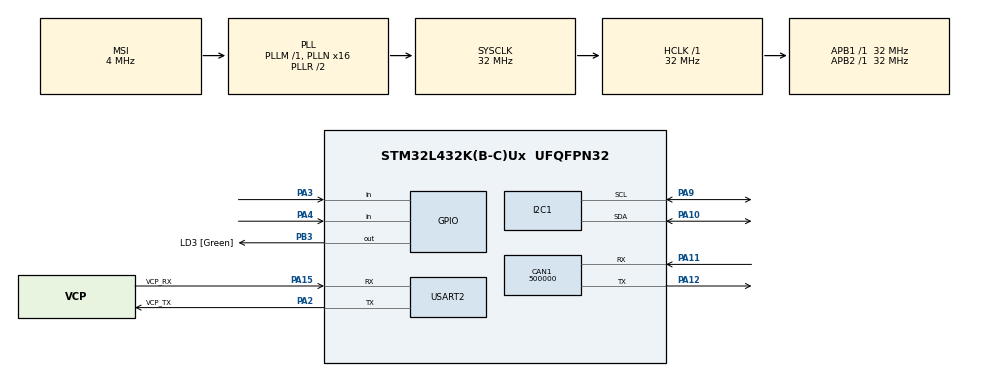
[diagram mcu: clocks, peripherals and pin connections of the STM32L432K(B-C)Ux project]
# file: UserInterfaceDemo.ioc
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CAN1.BS1=CAN_BS1_2TQ
CAN1.CalculateBaudRate=500000
CAN1.CalculateTimeBit=2000
CAN1.CalculateTimeQuantum=500.0
CAN1.Mode=CAN_MODE_NORMAL
CAN1.NART=DISABLE
CAN1.SJW=CAN_SJW_1TQ
I2C1.Timing=0x00B07CB4
Mcu.Family=STM32L4
Mcu.Name=STM32L432K(B-C)Ux
Mcu.Package=UFQFPN32
NVIC.CAN1_RX0_IRQn=true\:0\:0\:false\:false\:true\:true\:true\:true
NVIC.CAN1_RX1_IRQn=true\:0\:0\:false\:false\:true\:true\:true\:true
NVIC.PriorityGroup=NVIC_PRIORITYGROUP_4
PA0.GPIO_Label=MCO [High speed clock in]
PA0.Mode=HSE-External-Clock-Source-for-LittleOrca
PA0.Signal=RCC_CK_IN
PA10.Mode=I2C
PA10.Signal=I2C1_SDA
PA11.GPIO_PuPd=GPIO_NOPULL
PA11.Mode=CAN_Activate
PA11.Signal=CAN1_RX
PA12.Mode=CAN_Activate
PA12.Signal=CAN1_TX
PA13\ (JTMS-SWDIO).GPIO_Label=SWDIO
PA13\ (JTMS-SWDIO).Mode=Serial_Wire
PA13\ (JTMS-SWDIO).Signal=SYS_JTMS-SWDIO
PA14\ (JTCK-SWCLK).GPIO_Label=SWCLK
PA14\ (JTCK-SWCLK).Mode=Serial_Wire
PA14\ (JTCK-SWCLK).Signal=SYS_JTCK-SWCLK
PA15\ (JTDI).GPIO_Label=VCP_RX
PA15\ (JTDI).Mode=Asynchronous
PA15\ (JTDI).Signal=USART2_RX
PA2.GPIO_Label=VCP_TX
PA2.Mode=Asynchronous
PA2.Signal=USART2_TX
PA3.GPIO_PuPd=GPIO_PULLDOWN
PA3.Signal=GPIO_Input
PA4.GPIO_PuPd=GPIO_PULLDOWN
PA4.Signal=GPIO_Input
PA9.Mode=I2C
PA9.Signal=I2C1_SCL
PB3\ (JTDO-TRACESWO).GPIO_Label=LD3 [Green]
PB3\ (JTDO-TRACESWO).Signal=GPIO_Output
PC14-OSC32_IN\ (PC14).Mode=LSE-External-Oscillator
PC14-OSC32_IN\ (PC14).Signal=RCC_OSC32_IN
PC15-OSC32_OUT\ (PC15).Mode=LSE-External-Oscillator
PC15-OSC32_OUT\ (PC15).Signal=RCC_OSC32_OUT
ProjectManager.HeapSize=0x200
ProjectManager.StackSize=0x400
ProjectManager.TargetToolchain=STM32CubeIDE
RCC.AHBFreq_Value=32000000
RCC.APB1Freq_Value=32000000
RCC.APB1TimFreq_Value=32000000
RCC.APB2Freq_Value=32000000
RCC.APB2TimFreq_Value=32000000
RCC.CortexFreq_Value=32000000
RCC.HCLKFreq_Value=32000000
RCC.HSE_VALUE=8000000
RCC.HSI16_VALUE=16000000
RCC.HSI48_VALUE=48000000
RCC.HSI_VALUE=16000000
RCC.MSI_VALUE=4000000
RCC.PLLMUL=RCC_PLLMUL_4
RCC.PLLN=16
RCC.SYSCLKFreq_VALUE=32000000
RCC.SYSCLKSource=RCC_SYSCLKSOURCE_PLLCLK
RCC.VCOOutputFreq_Value=64000000
USART2.VirtualMode-Asynchronous=VM_ASYNC
board=NUCLEO-L432KC

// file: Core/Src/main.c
/* USER CODE BEGIN Header */
/**
  ******************************************************************************
  * @file           : main.c
  * @brief          : Main program body
  ******************************************************************************
  * @attention
  *
  * Copyright (c) 2025 STMicroelectronics.
  * All rights reserved.
  *
  * This software is licensed under terms that can be found in the LICENSE file
  * in the root directory of this software component.
  * If no LICENSE file comes with this software, it is provided AS-IS.
  *
  ******************************************************************************
  */
/* USER CODE END Header */
#include "main.h"

/* USER CODE BEGIN Includes */
#include "liquidcrystal_i2c.h"
/* USER CODE END Includes */

/* USER CODE BEGIN PTD */
/* This has to be replicated in every file to work properly */

/* USER CODE END PTD */

/* USER CODE BEGIN PM */
static inline void split_uint16(uint16_t v, uint8_t *hi, uint8_t *lo) {
    *hi = (uint8_t)(v >> 8);
    *lo = (uint8_t)(v & 0xFF);
}

static inline uint16_t combine_uint8(uint8_t hi, uint8_t lo) {
    return ((uint16_t)hi << 8) | (uint16_t)lo;
}
/* USER CODE END PM */

CAN_HandleTypeDef hcan1;

I2C_HandleTypeDef hi2c1;

UART_HandleTypeDef huart2;

/* USER CODE BEGIN PV */

//identifier ID for each board (every board should have the exact same values)
//must be between 0-255
static uint32_t MAIN = 100;
static uint32_t TEST = 101;
static uint32_t UI = 102;

//switch initial positions
int currentSwitch1 = 0;
int lastSwitch1 = 2;
int currentSwitch2 = 0;
int lastSwitch2 = 2;

/* USER CODE END PV */

void SystemClock_Config(void);
static void MX_GPIO_Init(void);
static void MX_USART2_UART_Init(void);
static void MX_CAN1_Init(void);
static void MX_I2C1_Init(void);

/* USER CODE BEGIN 0 */

CAN_TxHeaderTypeDef TxHeader;
CAN_RxHeaderTypeDef RxHeader;

uint8_t TxData[8];
uint8_t RxData[8];

//data is formatted as followed (three 16-bit values)
/*
 *  [0] data 1 MSB
 *  [1] data 1 LSB
 *  [2] data 2 MSB
 *  [3] data 2 LSB
 *  [4] data 3 MSB
 *  [5] data 3 LSB
 *  [6]
 *  [7] Identifier (such as 0x100 for MAIN)
 *
 *  not every packet will have all data filled, but identifier should always be allocated
 *  16 bit data has big-endian formatting
 */

uint32_t TxMailbox;

uint16_t recovered = 0;

void HAL_CAN_RxFifo0MsgPendingCallback(CAN_HandleTypeDef *hcan)
{
	HAL_CAN_GetRxMessage(hcan, CAN_RX_FIFO0, &RxHeader, RxData);

	recovered = combine_uint8(RxData[0], RxData[1]);

	HAL_GPIO_TogglePin(LD3_GPIO_Port, LD3_Pin);

	TxData[0] = currentSwitch1; //switch 1 position
	TxData[2] = currentSwitch2; //switch 2 position

	TxData[7] = UI; //set identifier
    HAL_CAN_AddTxMessage(&hcan1, &TxHeader, TxData, &TxMailbox);
}

/* USER CODE END 0 */

int main(void)
{

  /* MCU Configuration--------------------------------------------------------*/

  /* Reset of all peripherals, Initializes the Flash interface and the Systick. */
  HAL_Init();

  /* Configure the system clock */
  SystemClock_Config();

  /* Initialize all configured peripherals */
  MX_GPIO_Init();
  MX_USART2_UART_Init();
  MX_CAN1_Init();
  MX_I2C1_Init();
  /* USER CODE BEGIN 2 */
  HD44780_Init(4);
  HD44780_Clear();

  HAL_CAN_Start(&hcan1);

      // Activate the notification
      HAL_CAN_ActivateNotification(&hcan1, CAN_IT_RX_FIFO0_MSG_PENDING);

      //header to send data back to main board
      TxHeader.DLC = 8;  // data length
      TxHeader.ExtId = 0;
      TxHeader.IDE = CAN_ID_STD;
      TxHeader.RTR = CAN_RTR_DATA;
      TxHeader.StdId = MAIN;  // ID of main board, because always sending to MAIN
      TxHeader.TransmitGlobalTime = DISABLE;

  /* USER CODE END 2 */

  /* Infinite loop */
  /* USER CODE BEGIN WHILE */
  while (1)
  {
    /* Read switches */
    currentSwitch1 = HAL_GPIO_ReadPin(GPIOA,GPIO_PIN_3);
    currentSwitch2 = HAL_GPIO_ReadPin(GPIOA,GPIO_PIN_4);

    /* If state has changed */
    if (currentSwitch1 != lastSwitch1 || currentSwitch2 != lastSwitch2)
    {

      lastSwitch1 = currentSwitch1;
	  lastSwitch2 = currentSwitch2;
	  HD44780_Clear();

  	  HD44780_SetCursor(0,0);
  	  HD44780_PrintStr("Switch 1: ");

  	  if (currentSwitch1)
  	  {
  		HD44780_PrintStr("On.");
  	  }
  	  else
  	  {
    	HD44780_PrintStr("Off.");
      }

  	  HD44780_SetCursor(0,1);
  	  HD44780_PrintStr("Switch 2: ");

  	  if (currentSwitch2)
  	  {
 		HD44780_PrintStr("On.");
  	  }
 	  else
 	  {
     	HD44780_PrintStr("Off.");
  	  }
    }
    /* Print state to screen */

    /* USER CODE END WHILE */

  }
}

void SystemClock_Config(void)
{
  RCC_OscInitTypeDef RCC_OscInitStruct = {0};
  RCC_ClkInitTypeDef RCC_ClkInitStruct = {0};

  /** Configure the main internal regulator output voltage
  */
  if (HAL_PWREx_ControlVoltageScaling(PWR_REGULATOR_VOLTAGE_SCALE1) != HAL_OK)
  {
    Error_Handler();
  }

  /** Configure LSE Drive Capability
  */
  HAL_PWR_EnableBkUpAccess();
  __HAL_RCC_LSEDRIVE_CONFIG(RCC_LSEDRIVE_LOW);

  /** Initializes the RCC Oscillators according to the specified parameters
  * in the RCC_OscInitTypeDef structure.
  */
  RCC_OscInitStruct.OscillatorType = RCC_OSCILLATORTYPE_LSE|RCC_OSCILLATORTYPE_MSI;
  RCC_OscInitStruct.LSEState = RCC_LSE_ON;
  RCC_OscInitStruct.MSIState = RCC_MSI_ON;
  RCC_OscInitStruct.MSICalibrationValue = 0;
  RCC_OscInitStruct.MSIClockRange = RCC_MSIRANGE_6;
  RCC_OscInitStruct.PLL.PLLState = RCC_PLL_ON;
  RCC_OscInitStruct.PLL.PLLSource = RCC_PLLSOURCE_MSI;
  RCC_OscInitStruct.PLL.PLLM = 1;
  RCC_OscInitStruct.PLL.PLLN = 16;
  RCC_OscInitStruct.PLL.PLLP = RCC_PLLP_DIV7;
  RCC_OscInitStruct.PLL.PLLQ = RCC_PLLQ_DIV2;
  RCC_OscInitStruct.PLL.PLLR = RCC_PLLR_DIV2;
  if (HAL_RCC_OscConfig(&RCC_OscInitStruct) != HAL_OK)
  {
    Error_Handler();
  }

  /** Initializes the CPU, AHB and APB buses clocks
  */
  RCC_ClkInitStruct.ClockType = RCC_CLOCKTYPE_HCLK|RCC_CLOCKTYPE_SYSCLK
                              |RCC_CLOCKTYPE_PCLK1|RCC_CLOCKTYPE_PCLK2;
  RCC_ClkInitStruct.SYSCLKSource = RCC_SYSCLKSOURCE_PLLCLK;
  RCC_ClkInitStruct.AHBCLKDivider = RCC_SYSCLK_DIV1;
  RCC_ClkInitStruct.APB1CLKDivider = RCC_HCLK_DIV1;
  RCC_ClkInitStruct.APB2CLKDivider = RCC_HCLK_DIV1;

  if (HAL_RCC_ClockConfig(&RCC_ClkInitStruct, FLASH_LATENCY_1) != HAL_OK)
  {
    Error_Handler();
  }

  /** Enable MSI Auto calibration
  */
  HAL_RCCEx_EnableMSIPLLMode();
}

static void MX_CAN1_Init(void)
{

  hcan1.Instance = CAN1;
  hcan1.Init.Prescaler = 16;
  hcan1.Init.Mode = CAN_MODE_NORMAL;
  hcan1.Init.SyncJumpWidth = CAN_SJW_1TQ;
  hcan1.Init.TimeSeg1 = CAN_BS1_2TQ;
  hcan1.Init.TimeSeg2 = CAN_BS2_1TQ;
  hcan1.Init.TimeTriggeredMode = DISABLE;
  hcan1.Init.AutoBusOff = DISABLE;
  hcan1.Init.AutoWakeUp = DISABLE;
  hcan1.Init.AutoRetransmission = DISABLE;
  hcan1.Init.ReceiveFifoLocked = DISABLE;
  hcan1.Init.TransmitFifoPriority = DISABLE;
  if (HAL_CAN_Init(&hcan1) != HAL_OK)
  {
    Error_Handler();
  }
  /* USER CODE BEGIN CAN1_Init 2 */
  CAN_FilterTypeDef canfilterconfig;

    //filter id is id of this board so that it receives the correct data
       canfilterconfig.FilterActivation = CAN_FILTER_ENABLE;
       canfilterconfig.FilterBank = 10;  // which filter bank to use from the assigned ones
       canfilterconfig.FilterFIFOAssignment = CAN_RX_FIFO0;
       canfilterconfig.FilterIdHigh = UI<<5;
       canfilterconfig.FilterIdLow = 0x0000;
       canfilterconfig.FilterMaskIdHigh = UI<<5;
       canfilterconfig.FilterMaskIdLow = 0x0000;
       canfilterconfig.FilterMode = CAN_FILTERMODE_IDMASK;
       canfilterconfig.FilterScale = CAN_FILTERSCALE_32BIT;
       canfilterconfig.SlaveStartFilterBank = 13;  // 13 - 27 are Slave (CAN2) or 0 - 12 are Master (CAN1)
       	 	 	 	 	 	 	 	 	 	 	// useless if only 1 CAN1 (which this board has)

    HAL_CAN_ConfigFilter(&hcan1, &canfilterconfig);
  /* USER CODE END CAN1_Init 2 */

}

static void MX_I2C1_Init(void)
{

  hi2c1.Instance = I2C1;
  hi2c1.Init.Timing = 0x00B07CB4;
  hi2c1.Init.OwnAddress1 = 0;
  hi2c1.Init.AddressingMode = I2C_ADDRESSINGMODE_7BIT;
  hi2c1.Init.DualAddressMode = I2C_DUALADDRESS_DISABLE;
  hi2c1.Init.OwnAddress2 = 0;
  hi2c1.Init.OwnAddress2Masks = I2C_OA2_NOMASK;
  hi2c1.Init.GeneralCallMode = I2C_GENERALCALL_DISABLE;
  hi2c1.Init.NoStretchMode = I2C_NOSTRETCH_DISABLE;
  if (HAL_I2C_Init(&hi2c1) != HAL_OK)
  {
    Error_Handler();
  }

  /** Configure Analogue filter
  */
  if (HAL_I2CEx_ConfigAnalogFilter(&hi2c1, I2C_ANALOGFILTER_ENABLE) != HAL_OK)
  {
    Error_Handler();
  }

  /** Configure Digital filter
  */
  if (HAL_I2CEx_ConfigDigitalFilter(&hi2c1, 0) != HAL_OK)
  {
    Error_Handler();
  }

}

static void MX_USART2_UART_Init(void)
{

  huart2.Instance = USART2;
  huart2.Init.BaudRate = 115200;
  huart2.Init.WordLength = UART_WORDLENGTH_8B;
  huart2.Init.StopBits = UART_STOPBITS_1;
  huart2.Init.Parity = UART_PARITY_NONE;
  huart2.Init.Mode = UART_MODE_TX_RX;
  huart2.Init.HwFlowCtl = UART_HWCONTROL_NONE;
  huart2.Init.OverSampling = UART_OVERSAMPLING_16;
  huart2.Init.OneBitSampling = UART_ONE_BIT_SAMPLE_DISABLE;
  huart2.AdvancedInit.AdvFeatureInit = UART_ADVFEATURE_NO_INIT;
  if (HAL_UART_Init(&huart2) != HAL_OK)
  {
    Error_Handler();
  }

}

static void MX_GPIO_Init(void)
{
  GPIO_InitTypeDef GPIO_InitStruct = {0};

  /* GPIO Ports Clock Enable */
  __HAL_RCC_GPIOC_CLK_ENABLE();
  __HAL_RCC_GPIOA_CLK_ENABLE();
  __HAL_RCC_GPIOB_CLK_ENABLE();

  /*Configure GPIO pin Output Level */
  HAL_GPIO_WritePin(LD3_GPIO_Port, LD3_Pin, GPIO_PIN_RESET);

  /*Configure GPIO pins : PA3 PA4 */
  GPIO_InitStruct.Pin = GPIO_PIN_3|GPIO_PIN_4;
  GPIO_InitStruct.Mode = GPIO_MODE_INPUT;
  GPIO_InitStruct.Pull = GPIO_PULLDOWN;
  HAL_GPIO_Init(GPIOA, &GPIO_InitStruct);

  /*Configure GPIO pin : LD3_Pin */
  GPIO_InitStruct.Pin = LD3_Pin;
  GPIO_InitStruct.Mode = GPIO_MODE_OUTPUT_PP;
  GPIO_InitStruct.Pull = GPIO_NOPULL;
  GPIO_InitStruct.Speed = GPIO_SPEED_FREQ_LOW;
  HAL_GPIO_Init(LD3_GPIO_Port, &GPIO_InitStruct);

}

void Error_Handler(void)
{
  /* USER CODE BEGIN Error_Handler_Debug */
  /* Still need to handle this */
  /* User can add his own implementation to report the HAL error return state */
  __disable_irq();
  while (1)
  {
  }
  /* USER CODE END Error_Handler_Debug */
}
